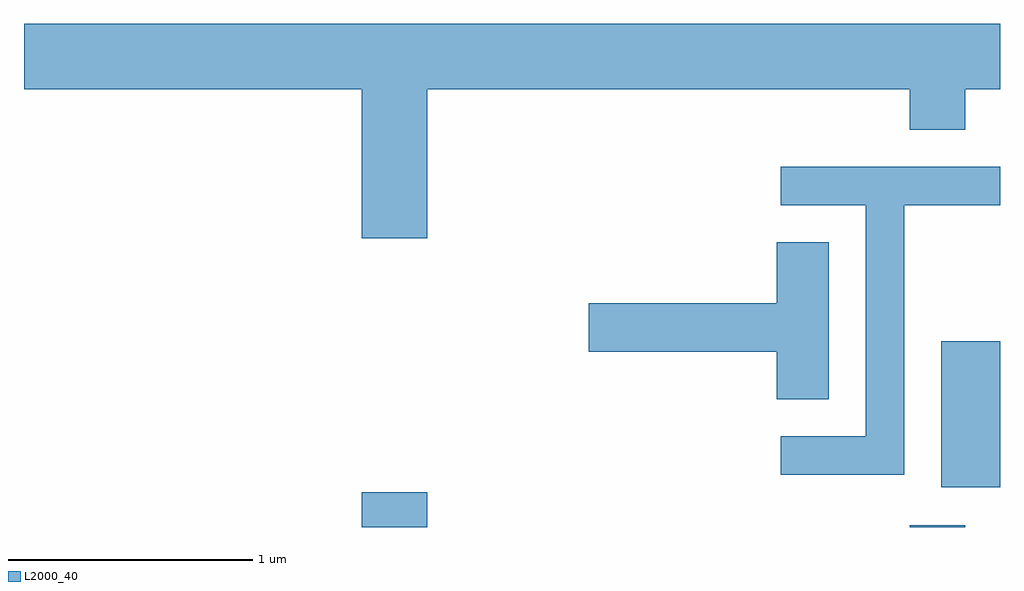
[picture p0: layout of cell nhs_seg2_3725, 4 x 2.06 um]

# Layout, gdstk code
import gdstk
lib = gdstk.Library(unit=1e-6, precision=1e-09)
def R(c, l, rs):  # rectangles x0, y0, x1, y1
    for r in rs: c.add(gdstk.rectangle(r[:2], r[2:], *l))
def P(c, l, *ps):  # polygons
    for p in ps: c.add(gdstk.Polygon(p, *l))
L2000_40 = (2000, 40)

nhs_seg2_3725 = lib.new_cell('nhs_seg2_3725')
R(nhs_seg2_3725, L2000_40, [(294.996,1099.802,295.264,1099.944), (297.241,1099.802,297.469,1099.809), (297.371,1099.966,297.611,1100.564)])
P(nhs_seg2_3725, L2000_40, [(295.264,1101.596),(297.241,1101.596),(297.241,1101.431),(297.469,1101.431),(297.469,1101.596),(297.611,1101.596),(297.611,1101.864),(293.611,1101.864),(293.611,1101.596),(294.996,1101.596),(294.996,1100.986),(295.264,1100.986)],
  [(297.219,1101.121),(297.611,1101.121),(297.611,1101.279),(296.713,1101.279),(296.713,1101.121),(297.061,1101.121),(297.061,1100.174),(296.713,1100.174),(296.713,1100.016),(297.219,1100.016)],
  [(296.909,1100.969),(296.696,1100.969),(296.696,1100.719),(295.926,1100.719),(295.926,1100.521),(296.696,1100.521),(296.696,1100.326),(296.909,1100.326)])

lib.write_gds('nhs_seg2_3725.gds')
